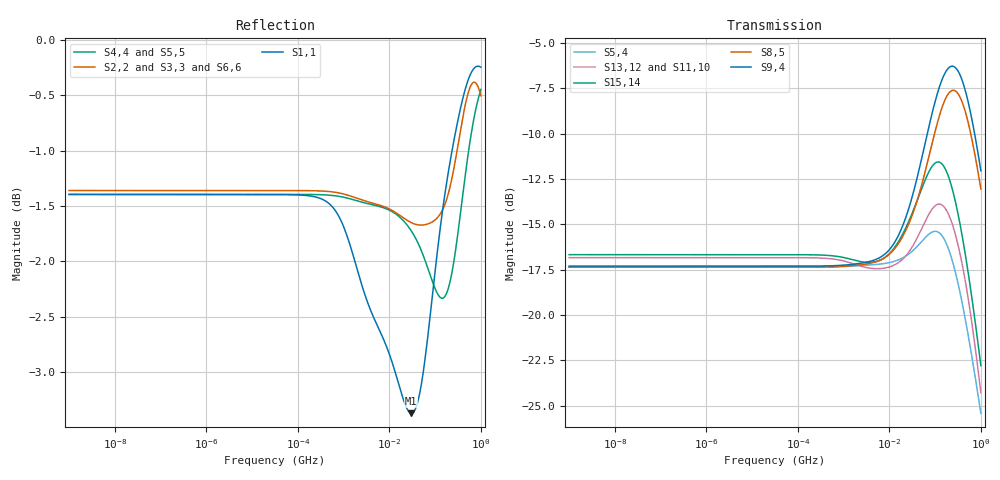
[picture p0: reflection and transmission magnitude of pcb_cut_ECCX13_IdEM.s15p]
! Touchstone data
! Created: 22-Apr-2025 by IdEM 2023 (2023.0.0)
! COMMENTS
!  Touchstone file exported from Ansys Full-Wave Spice
!  Project: 0000_PSI_S-parameter_Sweep
!  Design: unknown
!  Creation time: Tue Apr 22 07:49:21 2025
!  Notes: ! Touchstone(R) file created by SIwave 2025 R1
!  : ! Touchstone(R) file created on Tue Apr 22 07:49:21 2025
!  Modal data exported
!  Port[1] = PORT_1_L38_PWR_VECMX1_Group_U51_GND_Group
!  Port[2] = PORT_2_U1_PWR_VECMX1_Group_U1_GRP_0_0_GND
!  Port[3] = PWR_VECMX1_C513_1
!  Port[4] = PWR_VECMX1_C514_1
!  Port[5] = PWR_VECMX1_C515_1
!  Port[6] = PWR_VECMX1_C516_1
!  Port[7] = PWR_VECMX1_C517_1
!  Port[8] = PWR_VECMX1_C518_1
!  Port[9] = PWR_VECMX1_C519_1
!  Port[10] = PWR_VECMX1_C659_1
!  Port[11] = PWR_VECMX1_C659_3
!  Port[12] = PWR_VECMX1_C661_1
!  Port[13] = PWR_VECMX1_C661_3
!  Port[14] = PWR_VECMX1_C663_1
!  Port[15] = PWR_VECMX1_C663_3
! Options Used in IdEM Flow
! Fitting Options !
! Bandwidth: 1.0000e+09 Hz
! Order: [2 2 6]
! SplitType: none
! tol: 1.0000e-03
! DC Point: enforced
! Passivity Options !
! Alg: SOC+HAM
!  Max SOC it: 200
!  Max HAM it: 50
! Freq sampling: adaptive
! DC Point: enforced
! Optimization method: Model based
# Hz S MA R 0.1
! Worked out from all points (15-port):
!   420 points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, 1 Hz to 1 GHz, reference 0.1 ohm
!   strongest paths, dB at 1 Hz, 3.687 kHz, 11.66 MHz, 482.9 MHz, 1 GHz:
!     S9,4: -17.3, -17.3, -16.2, -7.8, -12.0
!     S8,5: -17.4, -17.4, -16.5, -9.0, -13.0
!     S15,14: -16.7, -16.7, -16.4, -17.0, -22.8
!     S13,12: -16.8, -16.8, -17.3, -18.5, -24.3
!     S11,10: -16.8, -16.8, -17.2, -18.4, -24.2
!     S5,4: -17.4, -17.4, -17.1, -20.6, -25.4
!   lowest |S11| = -3.4 dB at 29.29 MHz (marker M1), VSWR 5.22, Z = 0.0233 + j0.0456 ohm
!   |S11| at or under -10 dB: nowhere
